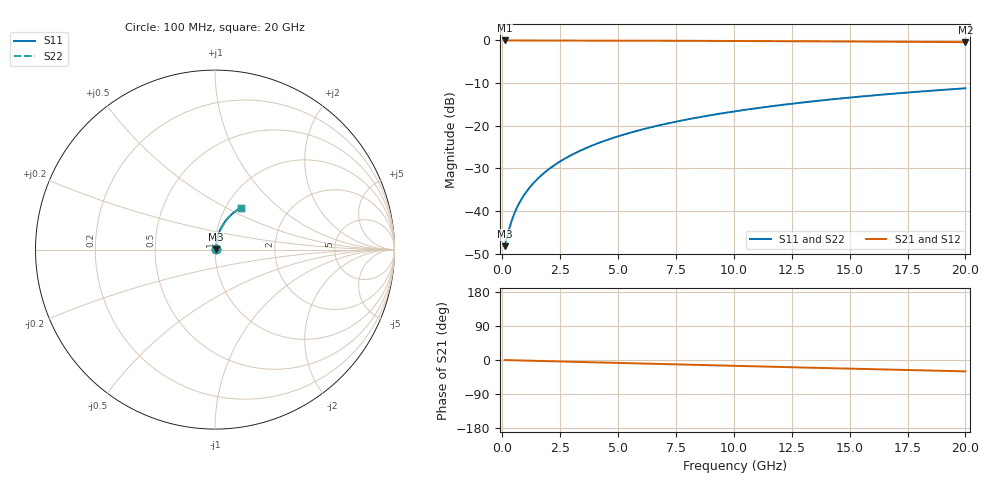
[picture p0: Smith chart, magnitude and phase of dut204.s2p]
! Touchstone file exported from HFSS 2026.1.0
!  File:  C:/ffzhzh/LocalFiles/Ansys_Project_Files/temp_train_BSMRDL_204_1782987777_42984.aedt
!  Generated:  06:24:11 PM Jul  2, 2026
!  Design:  BSMRDL
!  Project:  temp_train_BSMRDL_204_1782987777_42984
! Variables:
!  h_bsmrdl = 2.2um
!  h_ox = 20um
!  h_rdl = 5um
!  h_sub = 80um
!  h_tmrdl = 5um
!  h_tsv = 80um
!  h_via = 3um
!  l_bsmrdl = 422.58um
!  l_sub = 822.58um
!  l_tmrdl = 200um
!  m_sub = 200um
!  pitch = 41.58um
!  r_tsv = 6um
!  s_tmrdl = 10um
!  w_bsmrdl = 21.41um
!  w_sub = 500um
!  w_tmrdl = 12um
!  x_tsv_center1 = 206um
!  x_tsv_center2 = 649.99um
!  x_tsv_center3 = 861.99um
!  x_tsv_center4 = 1305.98um
!  x_tsv_center5 = 1517.98um
!  x_tsv_center6 = 1961.97um
# GHz S MA R 50.000000
! Terminal data exported
! Port[1] = BSM_RDL1_1_T1
! Port[2] = BSM_RDL1_1_T2
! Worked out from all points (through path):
!   200 points, 100 MHz to 20 GHz, reference 50 ohm
!   highest |S21| = -0.03 dB at 100 MHz (marker M1); lowest = -0.4 dB at 20 GHz (marker M2)
!   group delay of S21, straight-line fit = 4.17 ps
!   lowest |S11| = -48.2 dB at 100 MHz (marker M3), VSWR 1.01, Z = 50.4 + j0.171 ohm
!   |S11| at or under -10 dB: start of sweep to end of sweep
!   |S22| runs from -48.2 to -11.2 dB; largest |S21 - S12| = 3e-15
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0.1  0.003899 25.7  0.9965 -0.2  0.9965 -0.2  0.003899 25.7
! Gamma 0 0 0 0
! Port Impedance 50 0 50 0
0.3  0.00624 53.2  0.9963 -0.5  0.9963 -0.5  0.00624 53.2
0.4  0.007652 59.3  0.9962 -0.7  0.9962 -0.7  0.007652 59.3
0.5  0.009094 63.4  0.996 -0.8  0.996 -0.8  0.009094 63.4
0.6  0.01054 66.3  0.9959 -1.0  0.9959 -1.0  0.01054 66.3
0.7  0.01199 68.5  0.9958 -1.1  0.9958 -1.1  0.01199 68.5
0.9  0.01488 71.6  0.9956 -1.4  0.9956 -1.4  0.01488 71.6
1.2  0.01922 74.5  0.9953 -1.9  0.9953 -1.9  0.01922 74.5
1.4  0.02213 75.8  0.9952 -2.2  0.9952 -2.2  0.02213 75.8
1.7  0.02651 77.1  0.995 -2.7  0.995 -2.7  0.02651 77.1
2.2  0.03387 78.4  0.9947 -3.4  0.9947 -3.4  0.03387 78.4
2.8  0.04274 79.0  0.9942 -4.4  0.9942 -4.4  0.04274 79.0
3.5  0.05311 79.1  0.9936 -5.5  0.9936 -5.5  0.05311 79.1
4.2  0.06346 78.8  0.9929 -6.5  0.9929 -6.5  0.06347 78.8
5  0.07526 78.2  0.9919 -7.8  0.9919 -7.8  0.07526 78.2
5.9  0.08844 77.3  0.9906 -9.2  0.9906 -9.2  0.08845 77.3
6.8  0.1015 76.2  0.9891 -10.5  0.9891 -10.5  0.1015 76.2
8.3  0.1231 74.4  0.9863 -12.8  0.9863 -12.8  0.1231 74.3
10.1  0.1484 71.9  0.9823 -15.6  0.9823 -15.6  0.1484 71.9
13.4  0.193 67.3  0.9737 -20.5  0.9737 -20.5  0.193 67.3
16.7  0.2351 62.7  0.9635 -25.3  0.9635 -25.3  0.2352 62.6
20  0.2744 58.2  0.9524 -30.0  0.9524 -30.0  0.2745 58.1
